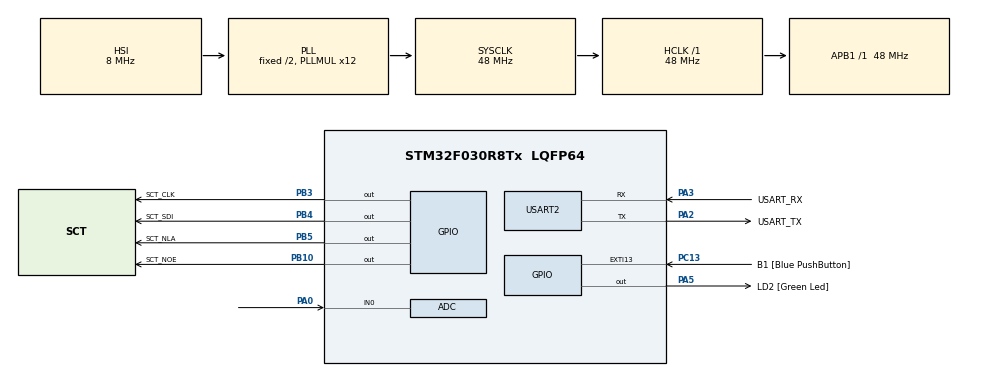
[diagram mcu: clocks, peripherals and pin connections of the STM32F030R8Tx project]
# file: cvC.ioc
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ADC.ContinuousConvMode=ENABLE
ADC.Overrun=ADC_OVR_DATA_OVERWRITTEN
ADC.SamplingTime=ADC_SAMPLETIME_239CYCLES_5
Mcu.Family=STM32F0
Mcu.Name=STM32F030R8Tx
Mcu.Package=LQFP64
NVIC.ADC1_IRQn=true\:0\:0\:false\:false\:true\:true\:true\:true
PA0.Mode=IN0
PA0.Signal=ADC_IN0
PA13.GPIO_Label=TMS
PA13.Mode=Serial_Wire
PA13.Signal=SYS_SWDIO
PA14.GPIO_Label=TCK
PA14.Mode=Serial_Wire
PA14.Signal=SYS_SWCLK
PA2.GPIO_Label=USART_TX
PA2.GPIO_Mode=GPIO_MODE_AF_PP
PA2.GPIO_PuPd=GPIO_NOPULL
PA2.GPIO_Speed=GPIO_SPEED_FREQ_LOW
PA2.Mode=Asynchronous
PA2.Signal=USART2_TX
PA3.GPIO_Label=USART_RX
PA3.GPIO_Mode=GPIO_MODE_AF_PP
PA3.GPIO_PuPd=GPIO_NOPULL
PA3.GPIO_Speed=GPIO_SPEED_FREQ_LOW
PA3.Mode=Asynchronous
PA3.Signal=USART2_RX
PA5.GPIO_Label=LD2 [Green Led]
PA5.GPIO_Mode=GPIO_MODE_OUTPUT_PP
PA5.GPIO_PuPd=GPIO_NOPULL
PA5.GPIO_Speed=GPIO_SPEED_FREQ_LOW
PA5.Signal=GPIO_Output
PB10.GPIO_Label=SCT_NOE
PB10.Signal=GPIO_Output
PB3.GPIO_Label=SCT_CLK
PB3.Signal=GPIO_Output
PB4.GPIO_Label=SCT_SDI
PB4.Signal=GPIO_Output
PB5.GPIO_Label=SCT_NLA
PB5.Signal=GPIO_Output
PC13.GPIO_Label=B1 [Blue PushButton]
PC13.GPIO_ModeDefaultEXTI=GPIO_MODE_IT_FALLING
PC13.Signal=GPXTI13
PC14-OSC32_IN.Mode=LSE-External-Oscillator
PC14-OSC32_IN.Signal=RCC_OSC32_IN
PC15-OSC32_OUT.Mode=LSE-External-Oscillator
PC15-OSC32_OUT.Signal=RCC_OSC32_OUT
PF0-OSC_IN.Mode=HSE-External-Clock-Source
PF0-OSC_IN.Signal=RCC_OSC_IN
PF1-OSC_OUT.Signal=RCC_OSC_OUT
ProjectManager.HeapSize=0x200
ProjectManager.StackSize=0x400
ProjectManager.TargetToolchain=STM32CubeIDE
RCC.AHBFreq_Value=48000000
RCC.APB1Freq_Value=48000000
RCC.APB1TimFreq_Value=48000000
RCC.HCLKFreq_Value=48000000
RCC.PLLMUL=RCC_PLL_MUL12
RCC.SYSCLKFreq_VALUE=48000000
RCC.SYSCLKSource=RCC_SYSCLKSOURCE_PLLCLK
USART2.VirtualMode-Asynchronous=VM_ASYNC
board=NUCLEO-F030R8

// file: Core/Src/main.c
/* USER CODE BEGIN Header */
/**
  ******************************************************************************
  * @file           : main.c
  * @brief          : Main program body
  ******************************************************************************
  * @attention
  *
  * Copyright (c) 2025 STMicroelectronics.
  * All rights reserved.
  *
  * This software is licensed under terms that can be found in the LICENSE file
  * in the root directory of this software component.
  * If no LICENSE file comes with this software, it is provided AS-IS.
  *
  ******************************************************************************
  */
/* USER CODE END Header */
#include "main.h"

/* USER CODE BEGIN Includes */
#include "sct.h"
/* USER CODE END Includes */

ADC_HandleTypeDef hadc;

UART_HandleTypeDef huart2;

void SystemClock_Config(void);
static void MX_GPIO_Init(void);
static void MX_USART2_UART_Init(void);
static void MX_ADC_Init(void);

/* USER CODE BEGIN 0 */

static volatile uint16_t raw_adc;

void HAL_ADC_ConvCpltCallback(ADC_HandleTypeDef* hadc)
{
	raw_adc = HAL_ADC_GetValue(hadc);
}

/* USER CODE END 0 */

int main(void)
{

  /* MCU Configuration--------------------------------------------------------*/

  /* Reset of all peripherals, Initializes the Flash interface and the Systick. */
  HAL_Init();

  /* Configure the system clock */
  SystemClock_Config();

  /* Initialize all configured peripherals */
  MX_GPIO_Init();
  MX_USART2_UART_Init();
  MX_ADC_Init();
  /* USER CODE BEGIN 2 */
  HAL_ADCEx_Calibration_Start(&hadc);
  HAL_ADC_Start_IT(&hadc);

  sct_init();
  sct_value(555, 0, 0);
  /* USER CODE END 2 */

  /* Infinite loop */
  /* USER CODE BEGIN WHILE */
  while (1)
  {
	  static uint8_t leds[12];
	  static uint8_t *p;
	  p = &leds[2]; // pointer pointing to second position of leds

	  uint16_t speed = (raw_adc * 481 / 4096) + 20;

	  static volatile uint32_t cTime;
	  if (HAL_GetTick() > cTime + speed){

		  static uint8_t i = 0;
		  static uint8_t flag;

		  for (uint8_t a = 0; a < 12; ++a) {
			  leds[a] = 0;
		  }

		  leds[i] = 1;
		  leds[i+1] = 1;
		  leds[i+2] = 1;

		  if (flag == 0) {
			  if (i < 9) {
				  i++;
			  } else {
				  flag = 1;
				  i--;
			  }
		  } else {
			  if (i > 0) {
				  i--;
			  } else {
				  flag = 0;
				  i++;
			  }
		  }
		  cTime = HAL_GetTick();
	  }

	  sct_value(speed, p, 0);

    /* USER CODE END WHILE */

  }
}

void SystemClock_Config(void)
{
  RCC_OscInitTypeDef RCC_OscInitStruct = {0};
  RCC_ClkInitTypeDef RCC_ClkInitStruct = {0};

  /** Initializes the RCC Oscillators according to the specified parameters
  * in the RCC_OscInitTypeDef structure.
  */
  RCC_OscInitStruct.OscillatorType = RCC_OSCILLATORTYPE_HSI|RCC_OSCILLATORTYPE_HSI14;
  RCC_OscInitStruct.HSIState = RCC_HSI_ON;
  RCC_OscInitStruct.HSI14State = RCC_HSI14_ON;
  RCC_OscInitStruct.HSICalibrationValue = RCC_HSICALIBRATION_DEFAULT;
  RCC_OscInitStruct.HSI14CalibrationValue = 16;
  RCC_OscInitStruct.PLL.PLLState = RCC_PLL_ON;
  RCC_OscInitStruct.PLL.PLLSource = RCC_PLLSOURCE_HSI;
  RCC_OscInitStruct.PLL.PLLMUL = RCC_PLL_MUL12;
  RCC_OscInitStruct.PLL.PREDIV = RCC_PREDIV_DIV1;
  if (HAL_RCC_OscConfig(&RCC_OscInitStruct) != HAL_OK)
  {
    Error_Handler();
  }

  /** Initializes the CPU, AHB and APB buses clocks
  */
  RCC_ClkInitStruct.ClockType = RCC_CLOCKTYPE_HCLK|RCC_CLOCKTYPE_SYSCLK
                              |RCC_CLOCKTYPE_PCLK1;
  RCC_ClkInitStruct.SYSCLKSource = RCC_SYSCLKSOURCE_PLLCLK;
  RCC_ClkInitStruct.AHBCLKDivider = RCC_SYSCLK_DIV1;
  RCC_ClkInitStruct.APB1CLKDivider = RCC_HCLK_DIV1;

  if (HAL_RCC_ClockConfig(&RCC_ClkInitStruct, FLASH_LATENCY_1) != HAL_OK)
  {
    Error_Handler();
  }
}

static void MX_ADC_Init(void)
{

  ADC_ChannelConfTypeDef sConfig = {0};

  /** Configure the global features of the ADC (Clock, Resolution, Data Alignment and number of conversion)
  */
  hadc.Instance = ADC1;
  hadc.Init.ClockPrescaler = ADC_CLOCK_ASYNC_DIV1;
  hadc.Init.Resolution = ADC_RESOLUTION_12B;
  hadc.Init.DataAlign = ADC_DATAALIGN_RIGHT;
  hadc.Init.ScanConvMode = ADC_SCAN_DIRECTION_FORWARD;
  hadc.Init.EOCSelection = ADC_EOC_SINGLE_CONV;
  hadc.Init.LowPowerAutoWait = DISABLE;
  hadc.Init.LowPowerAutoPowerOff = DISABLE;
  hadc.Init.ContinuousConvMode = ENABLE;
  hadc.Init.DiscontinuousConvMode = DISABLE;
  hadc.Init.ExternalTrigConv = ADC_SOFTWARE_START;
  hadc.Init.ExternalTrigConvEdge = ADC_EXTERNALTRIGCONVEDGE_NONE;
  hadc.Init.DMAContinuousRequests = DISABLE;
  hadc.Init.Overrun = ADC_OVR_DATA_OVERWRITTEN;
  if (HAL_ADC_Init(&hadc) != HAL_OK)
  {
    Error_Handler();
  }

  /** Configure for the selected ADC regular channel to be converted.
  */
  sConfig.Channel = ADC_CHANNEL_0;
  sConfig.Rank = ADC_RANK_CHANNEL_NUMBER;
  sConfig.SamplingTime = ADC_SAMPLETIME_239CYCLES_5;
  if (HAL_ADC_ConfigChannel(&hadc, &sConfig) != HAL_OK)
  {
    Error_Handler();
  }

}

static void MX_USART2_UART_Init(void)
{

  huart2.Instance = USART2;
  huart2.Init.BaudRate = 38400;
  huart2.Init.WordLength = UART_WORDLENGTH_8B;
  huart2.Init.StopBits = UART_STOPBITS_1;
  huart2.Init.Parity = UART_PARITY_NONE;
  huart2.Init.Mode = UART_MODE_TX_RX;
  huart2.Init.HwFlowCtl = UART_HWCONTROL_NONE;
  huart2.Init.OverSampling = UART_OVERSAMPLING_16;
  huart2.Init.OneBitSampling = UART_ONE_BIT_SAMPLE_DISABLE;
  huart2.AdvancedInit.AdvFeatureInit = UART_ADVFEATURE_NO_INIT;
  if (HAL_UART_Init(&huart2) != HAL_OK)
  {
    Error_Handler();
  }

}

static void MX_GPIO_Init(void)
{
  GPIO_InitTypeDef GPIO_InitStruct = {0};

  /* GPIO Ports Clock Enable */
  __HAL_RCC_GPIOC_CLK_ENABLE();
  __HAL_RCC_GPIOF_CLK_ENABLE();
  __HAL_RCC_GPIOA_CLK_ENABLE();
  __HAL_RCC_GPIOB_CLK_ENABLE();

  /*Configure GPIO pin Output Level */
  HAL_GPIO_WritePin(LD2_GPIO_Port, LD2_Pin, GPIO_PIN_RESET);

  /*Configure GPIO pin Output Level */
  HAL_GPIO_WritePin(GPIOB, SCT_NOE_Pin|SCT_CLK_Pin|SCT_SDI_Pin|SCT_NLA_Pin, GPIO_PIN_RESET);

  /*Configure GPIO pin : B1_Pin */
  GPIO_InitStruct.Pin = B1_Pin;
  GPIO_InitStruct.Mode = GPIO_MODE_IT_FALLING;
  GPIO_InitStruct.Pull = GPIO_NOPULL;
  HAL_GPIO_Init(B1_GPIO_Port, &GPIO_InitStruct);

  /*Configure GPIO pin : LD2_Pin */
  GPIO_InitStruct.Pin = LD2_Pin;
  GPIO_InitStruct.Mode = GPIO_MODE_OUTPUT_PP;
  GPIO_InitStruct.Pull = GPIO_NOPULL;
  GPIO_InitStruct.Speed = GPIO_SPEED_FREQ_LOW;
  HAL_GPIO_Init(LD2_GPIO_Port, &GPIO_InitStruct);

  /*Configure GPIO pins : SCT_NOE_Pin SCT_CLK_Pin SCT_SDI_Pin SCT_NLA_Pin */
  GPIO_InitStruct.Pin = SCT_NOE_Pin|SCT_CLK_Pin|SCT_SDI_Pin|SCT_NLA_Pin;
  GPIO_InitStruct.Mode = GPIO_MODE_OUTPUT_PP;
  GPIO_InitStruct.Pull = GPIO_NOPULL;
  GPIO_InitStruct.Speed = GPIO_SPEED_FREQ_LOW;
  HAL_GPIO_Init(GPIOB, &GPIO_InitStruct);

}

void Error_Handler(void)
{
  __disable_irq();
  while (1)
  {
  }
}
